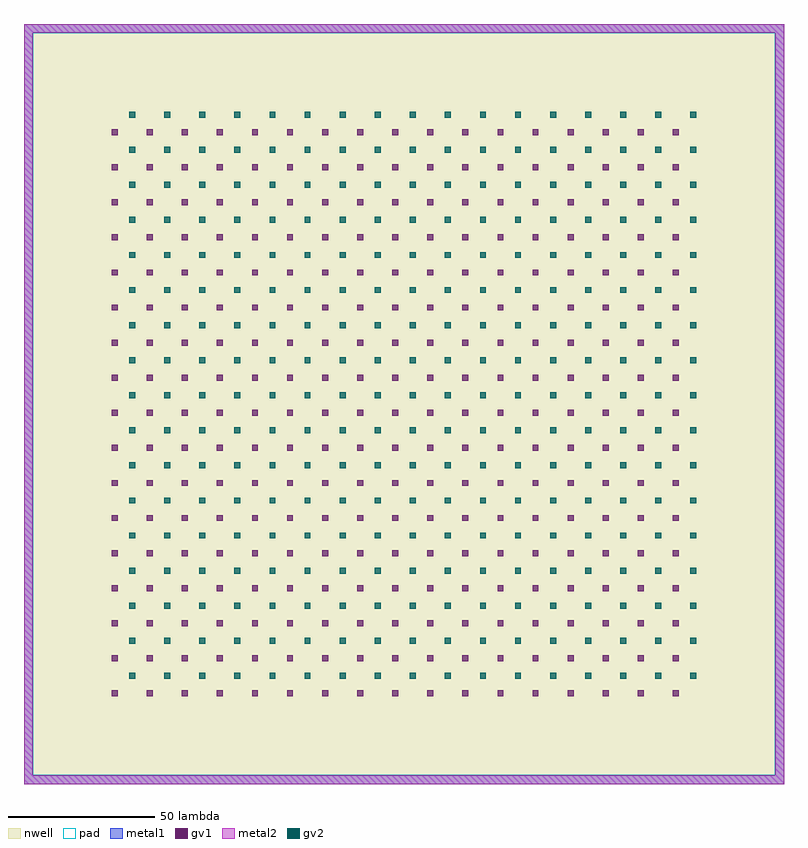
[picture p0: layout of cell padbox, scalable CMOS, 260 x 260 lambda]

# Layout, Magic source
magic
tech scmos
<< nwell >>
rect 0 0 260 260
<< metal1 >>
rect 0 257 260 260
rect 0 3 3 257
rect 257 3 260 257
rect 0 0 260 3
<< metal2 >>
rect 0 257 260 260
rect 0 3 3 257
rect 257 3 260 257
rect 0 0 260 3
<< pad >>
rect 3 3 257 257
use PadBoxX  PadBoxX_0
transform 1 0 30 0 1 222
box -1 -1 10 10
use PadBoxX  PadBoxX_1
transform 1 0 42 0 1 222
box -1 -1 10 10
use PadBoxX  PadBoxX_2
transform 1 0 54 0 1 222
box -1 -1 10 10
use PadBoxX  PadBoxX_3
transform 1 0 66 0 1 222
box -1 -1 10 10
use PadBoxX  PadBoxX_4
transform 1 0 78 0 1 222
box -1 -1 10 10
use PadBoxX  PadBoxX_5
transform 1 0 90 0 1 222
box -1 -1 10 10
use PadBoxX  PadBoxX_6
transform 1 0 102 0 1 222
box -1 -1 10 10
use PadBoxX  PadBoxX_7
transform 1 0 114 0 1 222
box -1 -1 10 10
use PadBoxX  PadBoxX_8
transform 1 0 126 0 1 222
box -1 -1 10 10
use PadBoxX  PadBoxX_9
transform 1 0 138 0 1 222
box -1 -1 10 10
use PadBoxX  PadBoxX_10
transform 1 0 150 0 1 222
box -1 -1 10 10
use PadBoxX  PadBoxX_11
transform 1 0 162 0 1 222
box -1 -1 10 10
use PadBoxX  PadBoxX_12
transform 1 0 174 0 1 222
box -1 -1 10 10
use PadBoxX  PadBoxX_13
transform 1 0 186 0 1 222
box -1 -1 10 10
use PadBoxX  PadBoxX_14
transform 1 0 198 0 1 222
box -1 -1 10 10
use PadBoxX  PadBoxX_15
transform 1 0 210 0 1 222
box -1 -1 10 10
use PadBoxX  PadBoxX_16
transform 1 0 222 0 1 222
box -1 -1 10 10
use PadBoxX  PadBoxX_17
transform 1 0 30 0 1 210
box -1 -1 10 10
use PadBoxX  PadBoxX_18
transform 1 0 42 0 1 210
box -1 -1 10 10
use PadBoxX  PadBoxX_19
transform 1 0 54 0 1 210
box -1 -1 10 10
use PadBoxX  PadBoxX_20
transform 1 0 66 0 1 210
box -1 -1 10 10
use PadBoxX  PadBoxX_21
transform 1 0 78 0 1 210
box -1 -1 10 10
use PadBoxX  PadBoxX_22
transform 1 0 90 0 1 210
box -1 -1 10 10
use PadBoxX  PadBoxX_23
transform 1 0 102 0 1 210
box -1 -1 10 10
use PadBoxX  PadBoxX_24
transform 1 0 114 0 1 210
box -1 -1 10 10
use PadBoxX  PadBoxX_25
transform 1 0 126 0 1 210
box -1 -1 10 10
use PadBoxX  PadBoxX_26
transform 1 0 138 0 1 210
box -1 -1 10 10
use PadBoxX  PadBoxX_27
transform 1 0 150 0 1 210
box -1 -1 10 10
use PadBoxX  PadBoxX_28
transform 1 0 162 0 1 210
box -1 -1 10 10
use PadBoxX  PadBoxX_29
transform 1 0 174 0 1 210
box -1 -1 10 10
use PadBoxX  PadBoxX_30
transform 1 0 186 0 1 210
box -1 -1 10 10
use PadBoxX  PadBoxX_31
transform 1 0 198 0 1 210
box -1 -1 10 10
use PadBoxX  PadBoxX_32
transform 1 0 210 0 1 210
box -1 -1 10 10
use PadBoxX  PadBoxX_33
transform 1 0 222 0 1 210
box -1 -1 10 10
use PadBoxX  PadBoxX_34
transform 1 0 30 0 1 198
box -1 -1 10 10
use PadBoxX  PadBoxX_35
transform 1 0 42 0 1 198
box -1 -1 10 10
use PadBoxX  PadBoxX_36
transform 1 0 54 0 1 198
box -1 -1 10 10
use PadBoxX  PadBoxX_37
transform 1 0 66 0 1 198
box -1 -1 10 10
use PadBoxX  PadBoxX_38
transform 1 0 78 0 1 198
box -1 -1 10 10
use PadBoxX  PadBoxX_39
transform 1 0 90 0 1 198
box -1 -1 10 10
use PadBoxX  PadBoxX_40
transform 1 0 102 0 1 198
box -1 -1 10 10
use PadBoxX  PadBoxX_41
transform 1 0 114 0 1 198
box -1 -1 10 10
use PadBoxX  PadBoxX_42
transform 1 0 126 0 1 198
box -1 -1 10 10
use PadBoxX  PadBoxX_43
transform 1 0 138 0 1 198
box -1 -1 10 10
use PadBoxX  PadBoxX_44
transform 1 0 150 0 1 198
box -1 -1 10 10
use PadBoxX  PadBoxX_45
transform 1 0 162 0 1 198
box -1 -1 10 10
use PadBoxX  PadBoxX_46
transform 1 0 174 0 1 198
box -1 -1 10 10
use PadBoxX  PadBoxX_47
transform 1 0 186 0 1 198
box -1 -1 10 10
use PadBoxX  PadBoxX_48
transform 1 0 198 0 1 198
box -1 -1 10 10
use PadBoxX  PadBoxX_49
transform 1 0 210 0 1 198
box -1 -1 10 10
use PadBoxX  PadBoxX_50
transform 1 0 222 0 1 198
box -1 -1 10 10
use PadBoxX  PadBoxX_51
transform 1 0 30 0 1 186
box -1 -1 10 10
use PadBoxX  PadBoxX_52
transform 1 0 42 0 1 186
box -1 -1 10 10
use PadBoxX  PadBoxX_53
transform 1 0 54 0 1 186
box -1 -1 10 10
use PadBoxX  PadBoxX_54
transform 1 0 66 0 1 186
box -1 -1 10 10
use PadBoxX  PadBoxX_55
transform 1 0 78 0 1 186
box -1 -1 10 10
use PadBoxX  PadBoxX_56
transform 1 0 90 0 1 186
box -1 -1 10 10
use PadBoxX  PadBoxX_57
transform 1 0 102 0 1 186
box -1 -1 10 10
use PadBoxX  PadBoxX_58
transform 1 0 114 0 1 186
box -1 -1 10 10
use PadBoxX  PadBoxX_59
transform 1 0 126 0 1 186
box -1 -1 10 10
use PadBoxX  PadBoxX_60
transform 1 0 138 0 1 186
box -1 -1 10 10
use PadBoxX  PadBoxX_61
transform 1 0 150 0 1 186
box -1 -1 10 10
use PadBoxX  PadBoxX_62
transform 1 0 162 0 1 186
box -1 -1 10 10
use PadBoxX  PadBoxX_63
transform 1 0 174 0 1 186
box -1 -1 10 10
use PadBoxX  PadBoxX_64
transform 1 0 186 0 1 186
box -1 -1 10 10
use PadBoxX  PadBoxX_65
transform 1 0 198 0 1 186
box -1 -1 10 10
use PadBoxX  PadBoxX_66
transform 1 0 210 0 1 186
box -1 -1 10 10
use PadBoxX  PadBoxX_67
transform 1 0 222 0 1 186
box -1 -1 10 10
use PadBoxX  PadBoxX_68
transform 1 0 30 0 1 174
box -1 -1 10 10
use PadBoxX  PadBoxX_69
transform 1 0 42 0 1 174
box -1 -1 10 10
use PadBoxX  PadBoxX_70
transform 1 0 54 0 1 174
box -1 -1 10 10
use PadBoxX  PadBoxX_71
transform 1 0 66 0 1 174
box -1 -1 10 10
use PadBoxX  PadBoxX_72
transform 1 0 78 0 1 174
box -1 -1 10 10
use PadBoxX  PadBoxX_73
transform 1 0 90 0 1 174
box -1 -1 10 10
use PadBoxX  PadBoxX_74
transform 1 0 102 0 1 174
box -1 -1 10 10
use PadBoxX  PadBoxX_75
transform 1 0 114 0 1 174
box -1 -1 10 10
use PadBoxX  PadBoxX_76
transform 1 0 126 0 1 174
box -1 -1 10 10
use PadBoxX  PadBoxX_77
transform 1 0 138 0 1 174
box -1 -1 10 10
use PadBoxX  PadBoxX_78
transform 1 0 150 0 1 174
box -1 -1 10 10
use PadBoxX  PadBoxX_79
transform 1 0 162 0 1 174
box -1 -1 10 10
use PadBoxX  PadBoxX_80
transform 1 0 174 0 1 174
box -1 -1 10 10
use PadBoxX  PadBoxX_81
transform 1 0 186 0 1 174
box -1 -1 10 10
use PadBoxX  PadBoxX_82
transform 1 0 198 0 1 174
box -1 -1 10 10
use PadBoxX  PadBoxX_83
transform 1 0 210 0 1 174
box -1 -1 10 10
use PadBoxX  PadBoxX_84
transform 1 0 222 0 1 174
box -1 -1 10 10
use PadBoxX  PadBoxX_85
transform 1 0 30 0 1 162
box -1 -1 10 10
use PadBoxX  PadBoxX_86
transform 1 0 42 0 1 162
box -1 -1 10 10
use PadBoxX  PadBoxX_87
transform 1 0 54 0 1 162
box -1 -1 10 10
use PadBoxX  PadBoxX_88
transform 1 0 66 0 1 162
box -1 -1 10 10
use PadBoxX  PadBoxX_89
transform 1 0 78 0 1 162
box -1 -1 10 10
use PadBoxX  PadBoxX_90
transform 1 0 90 0 1 162
box -1 -1 10 10
use PadBoxX  PadBoxX_91
transform 1 0 102 0 1 162
box -1 -1 10 10
use PadBoxX  PadBoxX_92
transform 1 0 114 0 1 162
box -1 -1 10 10
use PadBoxX  PadBoxX_93
transform 1 0 126 0 1 162
box -1 -1 10 10
use PadBoxX  PadBoxX_94
transform 1 0 138 0 1 162
box -1 -1 10 10
use PadBoxX  PadBoxX_95
transform 1 0 150 0 1 162
box -1 -1 10 10
use PadBoxX  PadBoxX_96
transform 1 0 162 0 1 162
box -1 -1 10 10
use PadBoxX  PadBoxX_97
transform 1 0 174 0 1 162
box -1 -1 10 10
use PadBoxX  PadBoxX_98
transform 1 0 186 0 1 162
box -1 -1 10 10
use PadBoxX  PadBoxX_99
transform 1 0 198 0 1 162
box -1 -1 10 10
use PadBoxX  PadBoxX_100
transform 1 0 210 0 1 162
box -1 -1 10 10
use PadBoxX  PadBoxX_101
transform 1 0 222 0 1 162
box -1 -1 10 10
use PadBoxX  PadBoxX_102
transform 1 0 30 0 1 150
box -1 -1 10 10
use PadBoxX  PadBoxX_103
transform 1 0 42 0 1 150
box -1 -1 10 10
use PadBoxX  PadBoxX_104
transform 1 0 54 0 1 150
box -1 -1 10 10
use PadBoxX  PadBoxX_105
transform 1 0 66 0 1 150
box -1 -1 10 10
use PadBoxX  PadBoxX_106
transform 1 0 78 0 1 150
box -1 -1 10 10
use PadBoxX  PadBoxX_107
transform 1 0 90 0 1 150
box -1 -1 10 10
use PadBoxX  PadBoxX_108
transform 1 0 102 0 1 150
box -1 -1 10 10
use PadBoxX  PadBoxX_109
transform 1 0 114 0 1 150
box -1 -1 10 10
use PadBoxX  PadBoxX_110
transform 1 0 126 0 1 150
box -1 -1 10 10
use PadBoxX  PadBoxX_111
transform 1 0 138 0 1 150
box -1 -1 10 10
use PadBoxX  PadBoxX_112
transform 1 0 150 0 1 150
box -1 -1 10 10
use PadBoxX  PadBoxX_113
transform 1 0 162 0 1 150
box -1 -1 10 10
use PadBoxX  PadBoxX_114
transform 1 0 174 0 1 150
box -1 -1 10 10
use PadBoxX  PadBoxX_115
transform 1 0 186 0 1 150
box -1 -1 10 10
use PadBoxX  PadBoxX_116
transform 1 0 198 0 1 150
box -1 -1 10 10
use PadBoxX  PadBoxX_117
transform 1 0 210 0 1 150
box -1 -1 10 10
use PadBoxX  PadBoxX_118
transform 1 0 222 0 1 150
box -1 -1 10 10
use PadBoxX  PadBoxX_119
transform 1 0 30 0 1 138
box -1 -1 10 10
use PadBoxX  PadBoxX_120
transform 1 0 42 0 1 138
box -1 -1 10 10
use PadBoxX  PadBoxX_121
transform 1 0 54 0 1 138
box -1 -1 10 10
use PadBoxX  PadBoxX_122
transform 1 0 66 0 1 138
box -1 -1 10 10
use PadBoxX  PadBoxX_123
transform 1 0 78 0 1 138
box -1 -1 10 10
use PadBoxX  PadBoxX_124
transform 1 0 90 0 1 138
box -1 -1 10 10
use PadBoxX  PadBoxX_125
transform 1 0 102 0 1 138
box -1 -1 10 10
use PadBoxX  PadBoxX_126
transform 1 0 114 0 1 138
box -1 -1 10 10
use PadBoxX  PadBoxX_127
transform 1 0 126 0 1 138
box -1 -1 10 10
use PadBoxX  PadBoxX_128
transform 1 0 138 0 1 138
box -1 -1 10 10
use PadBoxX  PadBoxX_129
transform 1 0 150 0 1 138
box -1 -1 10 10
use PadBoxX  PadBoxX_130
transform 1 0 162 0 1 138
box -1 -1 10 10
use PadBoxX  PadBoxX_131
transform 1 0 174 0 1 138
box -1 -1 10 10
use PadBoxX  PadBoxX_132
transform 1 0 186 0 1 138
box -1 -1 10 10
use PadBoxX  PadBoxX_133
transform 1 0 198 0 1 138
box -1 -1 10 10
use PadBoxX  PadBoxX_134
transform 1 0 210 0 1 138
box -1 -1 10 10
use PadBoxX  PadBoxX_135
transform 1 0 222 0 1 138
box -1 -1 10 10
use PadBoxX  PadBoxX_136
transform 1 0 30 0 1 126
box -1 -1 10 10
use PadBoxX  PadBoxX_137
transform 1 0 42 0 1 126
box -1 -1 10 10
use PadBoxX  PadBoxX_138
transform 1 0 54 0 1 126
box -1 -1 10 10
use PadBoxX  PadBoxX_139
transform 1 0 66 0 1 126
box -1 -1 10 10
use PadBoxX  PadBoxX_140
transform 1 0 78 0 1 126
box -1 -1 10 10
use PadBoxX  PadBoxX_141
transform 1 0 90 0 1 126
box -1 -1 10 10
use PadBoxX  PadBoxX_142
transform 1 0 102 0 1 126
box -1 -1 10 10
use PadBoxX  PadBoxX_143
transform 1 0 114 0 1 126
box -1 -1 10 10
use PadBoxX  PadBoxX_144
transform 1 0 126 0 1 126
box -1 -1 10 10
use PadBoxX  PadBoxX_145
transform 1 0 138 0 1 126
box -1 -1 10 10
use PadBoxX  PadBoxX_146
transform 1 0 150 0 1 126
box -1 -1 10 10
use PadBoxX  PadBoxX_147
transform 1 0 162 0 1 126
box -1 -1 10 10
use PadBoxX  PadBoxX_148
transform 1 0 174 0 1 126
box -1 -1 10 10
use PadBoxX  PadBoxX_149
transform 1 0 186 0 1 126
box -1 -1 10 10
use PadBoxX  PadBoxX_150
transform 1 0 198 0 1 126
box -1 -1 10 10
use PadBoxX  PadBoxX_151
transform 1 0 210 0 1 126
box -1 -1 10 10
use PadBoxX  PadBoxX_152
transform 1 0 222 0 1 126
box -1 -1 10 10
use PadBoxX  PadBoxX_153
transform 1 0 30 0 1 114
box -1 -1 10 10
use PadBoxX  PadBoxX_154
transform 1 0 42 0 1 114
box -1 -1 10 10
use PadBoxX  PadBoxX_155
transform 1 0 54 0 1 114
box -1 -1 10 10
use PadBoxX  PadBoxX_156
transform 1 0 66 0 1 114
box -1 -1 10 10
use PadBoxX  PadBoxX_157
transform 1 0 78 0 1 114
box -1 -1 10 10
use PadBoxX  PadBoxX_158
transform 1 0 90 0 1 114
box -1 -1 10 10
use PadBoxX  PadBoxX_159
transform 1 0 102 0 1 114
box -1 -1 10 10
use PadBoxX  PadBoxX_160
transform 1 0 114 0 1 114
box -1 -1 10 10
use PadBoxX  PadBoxX_161
transform 1 0 126 0 1 114
box -1 -1 10 10
use PadBoxX  PadBoxX_162
transform 1 0 138 0 1 114
box -1 -1 10 10
use PadBoxX  PadBoxX_163
transform 1 0 150 0 1 114
box -1 -1 10 10
use PadBoxX  PadBoxX_164
transform 1 0 162 0 1 114
box -1 -1 10 10
use PadBoxX  PadBoxX_165
transform 1 0 174 0 1 114
box -1 -1 10 10
use PadBoxX  PadBoxX_166
transform 1 0 186 0 1 114
box -1 -1 10 10
use PadBoxX  PadBoxX_167
transform 1 0 198 0 1 114
box -1 -1 10 10
use PadBoxX  PadBoxX_168
transform 1 0 210 0 1 114
box -1 -1 10 10
use PadBoxX  PadBoxX_169
transform 1 0 222 0 1 114
box -1 -1 10 10
use PadBoxX  PadBoxX_170
transform 1 0 30 0 1 102
box -1 -1 10 10
use PadBoxX  PadBoxX_171
transform 1 0 42 0 1 102
box -1 -1 10 10
use PadBoxX  PadBoxX_172
transform 1 0 54 0 1 102
box -1 -1 10 10
use PadBoxX  PadBoxX_173
transform 1 0 66 0 1 102
box -1 -1 10 10
use PadBoxX  PadBoxX_174
transform 1 0 78 0 1 102
box -1 -1 10 10
use PadBoxX  PadBoxX_175
transform 1 0 90 0 1 102
box -1 -1 10 10
use PadBoxX  PadBoxX_176
transform 1 0 102 0 1 102
box -1 -1 10 10
use PadBoxX  PadBoxX_177
transform 1 0 114 0 1 102
box -1 -1 10 10
use PadBoxX  PadBoxX_178
transform 1 0 126 0 1 102
box -1 -1 10 10
use PadBoxX  PadBoxX_179
transform 1 0 138 0 1 102
box -1 -1 10 10
use PadBoxX  PadBoxX_180
transform 1 0 150 0 1 102
box -1 -1 10 10
use PadBoxX  PadBoxX_181
transform 1 0 162 0 1 102
box -1 -1 10 10
use PadBoxX  PadBoxX_182
transform 1 0 174 0 1 102
box -1 -1 10 10
use PadBoxX  PadBoxX_183
transform 1 0 186 0 1 102
box -1 -1 10 10
use PadBoxX  PadBoxX_184
transform 1 0 198 0 1 102
box -1 -1 10 10
use PadBoxX  PadBoxX_185
transform 1 0 210 0 1 102
box -1 -1 10 10
use PadBoxX  PadBoxX_186
transform 1 0 222 0 1 102
box -1 -1 10 10
use PadBoxX  PadBoxX_187
transform 1 0 30 0 1 90
box -1 -1 10 10
use PadBoxX  PadBoxX_188
transform 1 0 42 0 1 90
box -1 -1 10 10
use PadBoxX  PadBoxX_189
transform 1 0 54 0 1 90
box -1 -1 10 10
use PadBoxX  PadBoxX_190
transform 1 0 66 0 1 90
box -1 -1 10 10
use PadBoxX  PadBoxX_191
transform 1 0 78 0 1 90
box -1 -1 10 10
use PadBoxX  PadBoxX_192
transform 1 0 90 0 1 90
box -1 -1 10 10
use PadBoxX  PadBoxX_193
transform 1 0 102 0 1 90
box -1 -1 10 10
use PadBoxX  PadBoxX_194
transform 1 0 114 0 1 90
box -1 -1 10 10
use PadBoxX  PadBoxX_195
transform 1 0 126 0 1 90
box -1 -1 10 10
use PadBoxX  PadBoxX_196
transform 1 0 138 0 1 90
box -1 -1 10 10
use PadBoxX  PadBoxX_197
transform 1 0 150 0 1 90
box -1 -1 10 10
use PadBoxX  PadBoxX_198
transform 1 0 162 0 1 90
box -1 -1 10 10
use PadBoxX  PadBoxX_199
transform 1 0 174 0 1 90
box -1 -1 10 10
use PadBoxX  PadBoxX_200
transform 1 0 186 0 1 90
box -1 -1 10 10
use PadBoxX  PadBoxX_201
transform 1 0 198 0 1 90
box -1 -1 10 10
use PadBoxX  PadBoxX_202
transform 1 0 210 0 1 90
box -1 -1 10 10
use PadBoxX  PadBoxX_203
transform 1 0 222 0 1 90
box -1 -1 10 10
use PadBoxX  PadBoxX_204
transform 1 0 30 0 1 78
box -1 -1 10 10
use PadBoxX  PadBoxX_205
transform 1 0 42 0 1 78
box -1 -1 10 10
use PadBoxX  PadBoxX_206
transform 1 0 54 0 1 78
box -1 -1 10 10
use PadBoxX  PadBoxX_207
transform 1 0 66 0 1 78
box -1 -1 10 10
use PadBoxX  PadBoxX_208
transform 1 0 78 0 1 78
box -1 -1 10 10
use PadBoxX  PadBoxX_209
transform 1 0 90 0 1 78
box -1 -1 10 10
use PadBoxX  PadBoxX_210
transform 1 0 102 0 1 78
box -1 -1 10 10
use PadBoxX  PadBoxX_211
transform 1 0 114 0 1 78
box -1 -1 10 10
use PadBoxX  PadBoxX_212
transform 1 0 126 0 1 78
box -1 -1 10 10
use PadBoxX  PadBoxX_213
transform 1 0 138 0 1 78
box -1 -1 10 10
use PadBoxX  PadBoxX_214
transform 1 0 150 0 1 78
box -1 -1 10 10
use PadBoxX  PadBoxX_215
transform 1 0 162 0 1 78
box -1 -1 10 10
use PadBoxX  PadBoxX_216
transform 1 0 174 0 1 78
box -1 -1 10 10
use PadBoxX  PadBoxX_217
transform 1 0 186 0 1 78
box -1 -1 10 10
use PadBoxX  PadBoxX_218
transform 1 0 198 0 1 78
box -1 -1 10 10
use PadBoxX  PadBoxX_219
transform 1 0 210 0 1 78
box -1 -1 10 10
use PadBoxX  PadBoxX_220
transform 1 0 222 0 1 78
box -1 -1 10 10
use PadBoxX  PadBoxX_221
transform 1 0 30 0 1 66
box -1 -1 10 10
use PadBoxX  PadBoxX_222
transform 1 0 42 0 1 66
box -1 -1 10 10
use PadBoxX  PadBoxX_223
transform 1 0 54 0 1 66
box -1 -1 10 10
use PadBoxX  PadBoxX_224
transform 1 0 66 0 1 66
box -1 -1 10 10
use PadBoxX  PadBoxX_225
transform 1 0 78 0 1 66
box -1 -1 10 10
use PadBoxX  PadBoxX_226
transform 1 0 90 0 1 66
box -1 -1 10 10
use PadBoxX  PadBoxX_227
transform 1 0 102 0 1 66
box -1 -1 10 10
use PadBoxX  PadBoxX_228
transform 1 0 114 0 1 66
box -1 -1 10 10
use PadBoxX  PadBoxX_229
transform 1 0 126 0 1 66
box -1 -1 10 10
use PadBoxX  PadBoxX_230
transform 1 0 138 0 1 66
box -1 -1 10 10
use PadBoxX  PadBoxX_231
transform 1 0 150 0 1 66
box -1 -1 10 10
use PadBoxX  PadBoxX_232
transform 1 0 162 0 1 66
box -1 -1 10 10
use PadBoxX  PadBoxX_233
transform 1 0 174 0 1 66
box -1 -1 10 10
use PadBoxX  PadBoxX_234
transform 1 0 186 0 1 66
box -1 -1 10 10
use PadBoxX  PadBoxX_235
transform 1 0 198 0 1 66
box -1 -1 10 10
use PadBoxX  PadBoxX_236
transform 1 0 210 0 1 66
box -1 -1 10 10
use PadBoxX  PadBoxX_237
transform 1 0 222 0 1 66
box -1 -1 10 10
use PadBoxX  PadBoxX_238
transform 1 0 30 0 1 54
box -1 -1 10 10
use PadBoxX  PadBoxX_239
transform 1 0 42 0 1 54
box -1 -1 10 10
use PadBoxX  PadBoxX_240
transform 1 0 54 0 1 54
box -1 -1 10 10
use PadBoxX  PadBoxX_241
transform 1 0 66 0 1 54
box -1 -1 10 10
use PadBoxX  PadBoxX_242
transform 1 0 78 0 1 54
box -1 -1 10 10
use PadBoxX  PadBoxX_243
transform 1 0 90 0 1 54
box -1 -1 10 10
use PadBoxX  PadBoxX_244
transform 1 0 102 0 1 54
box -1 -1 10 10
use PadBoxX  PadBoxX_245
transform 1 0 114 0 1 54
box -1 -1 10 10
use PadBoxX  PadBoxX_246
transform 1 0 126 0 1 54
box -1 -1 10 10
use PadBoxX  PadBoxX_247
transform 1 0 138 0 1 54
box -1 -1 10 10
use PadBoxX  PadBoxX_248
transform 1 0 150 0 1 54
box -1 -1 10 10
use PadBoxX  PadBoxX_249
transform 1 0 162 0 1 54
box -1 -1 10 10
use PadBoxX  PadBoxX_250
transform 1 0 174 0 1 54
box -1 -1 10 10
use PadBoxX  PadBoxX_251
transform 1 0 186 0 1 54
box -1 -1 10 10
use PadBoxX  PadBoxX_252
transform 1 0 198 0 1 54
box -1 -1 10 10
use PadBoxX  PadBoxX_253
transform 1 0 210 0 1 54
box -1 -1 10 10
use PadBoxX  PadBoxX_254
transform 1 0 222 0 1 54
box -1 -1 10 10
use PadBoxX  PadBoxX_255
transform 1 0 30 0 1 42
box -1 -1 10 10
use PadBoxX  PadBoxX_256
transform 1 0 42 0 1 42
box -1 -1 10 10
use PadBoxX  PadBoxX_257
transform 1 0 54 0 1 42
box -1 -1 10 10
use PadBoxX  PadBoxX_258
transform 1 0 66 0 1 42
box -1 -1 10 10
use PadBoxX  PadBoxX_259
transform 1 0 78 0 1 42
box -1 -1 10 10
use PadBoxX  PadBoxX_260
transform 1 0 90 0 1 42
box -1 -1 10 10
use PadBoxX  PadBoxX_261
transform 1 0 102 0 1 42
box -1 -1 10 10
use PadBoxX  PadBoxX_262
transform 1 0 114 0 1 42
box -1 -1 10 10
use PadBoxX  PadBoxX_263
transform 1 0 126 0 1 42
box -1 -1 10 10
use PadBoxX  PadBoxX_264
transform 1 0 138 0 1 42
box -1 -1 10 10
use PadBoxX  PadBoxX_265
transform 1 0 150 0 1 42
box -1 -1 10 10
use PadBoxX  PadBoxX_266
transform 1 0 162 0 1 42
box -1 -1 10 10
use PadBoxX  PadBoxX_267
transform 1 0 174 0 1 42
box -1 -1 10 10
use PadBoxX  PadBoxX_268
transform 1 0 186 0 1 42
box -1 -1 10 10
use PadBoxX  PadBoxX_269
transform 1 0 198 0 1 42
box -1 -1 10 10
use PadBoxX  PadBoxX_270
transform 1 0 210 0 1 42
box -1 -1 10 10
use PadBoxX  PadBoxX_271
transform 1 0 222 0 1 42
box -1 -1 10 10
use PadBoxX  PadBoxX_272
transform 1 0 30 0 1 30
box -1 -1 10 10
use PadBoxX  PadBoxX_273
transform 1 0 42 0 1 30
box -1 -1 10 10
use PadBoxX  PadBoxX_274
transform 1 0 54 0 1 30
box -1 -1 10 10
use PadBoxX  PadBoxX_275
transform 1 0 66 0 1 30
box -1 -1 10 10
use PadBoxX  PadBoxX_276
transform 1 0 78 0 1 30
box -1 -1 10 10
use PadBoxX  PadBoxX_277
transform 1 0 90 0 1 30
box -1 -1 10 10
use PadBoxX  PadBoxX_278
transform 1 0 102 0 1 30
box -1 -1 10 10
use PadBoxX  PadBoxX_279
transform 1 0 114 0 1 30
box -1 -1 10 10
use PadBoxX  PadBoxX_280
transform 1 0 126 0 1 30
box -1 -1 10 10
use PadBoxX  PadBoxX_281
transform 1 0 138 0 1 30
box -1 -1 10 10
use PadBoxX  PadBoxX_282
transform 1 0 150 0 1 30
box -1 -1 10 10
use PadBoxX  PadBoxX_283
transform 1 0 162 0 1 30
box -1 -1 10 10
use PadBoxX  PadBoxX_284
transform 1 0 174 0 1 30
box -1 -1 10 10
use PadBoxX  PadBoxX_285
transform 1 0 186 0 1 30
box -1 -1 10 10
use PadBoxX  PadBoxX_286
transform 1 0 198 0 1 30
box -1 -1 10 10
use PadBoxX  PadBoxX_287
transform 1 0 210 0 1 30
box -1 -1 10 10
use PadBoxX  PadBoxX_288
transform 1 0 222 0 1 30
box -1 -1 10 10
<< properties >>
string path 0.000 0.000 1170.000 0.000 1170.000 1170.000 0.000 1170.000 0.000 0.000 
<< end >>

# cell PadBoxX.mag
magic
tech scmos
<< gv1 >>
rect 0 0 2 2
<< gv2 >>
rect 6 6 8 8
<< properties >>
string path 27.000 27.000 36.000 27.000 36.000 36.000 27.000 36.000 27.000 27.000 
<< end >>
